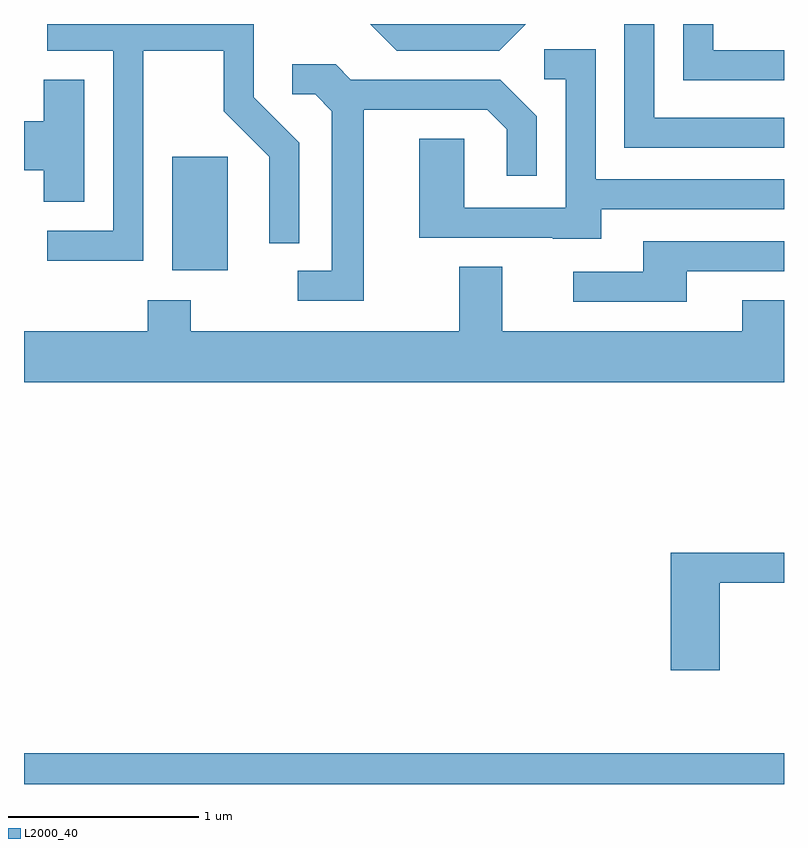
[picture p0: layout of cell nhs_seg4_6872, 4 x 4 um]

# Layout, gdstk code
import gdstk
lib = gdstk.Library(unit=1e-6, precision=1e-09)
def R(c, l, rs):  # rectangles x0, y0, x1, y1
    for r in rs: c.add(gdstk.rectangle(r[:2], r[2:], *l))
def P(c, l, *ps):  # polygons
    for p in ps: c.add(gdstk.Polygon(p, *l))
L2000_40 = (2000, 40)

nhs_seg4_6872 = lib.new_cell('nhs_seg4_6872')
R(nhs_seg4_6872, L2000_40, [(387.611,1265.982,391.611,1266.144), (388.391,1268.686,388.684,1269.284)])
P(nhs_seg4_6872, L2000_40, [(391.611,1269.844),(391.239,1269.844),(391.239,1269.982),(391.081,1269.982),(391.081,1269.686),(391.611,1269.686)],
  [(391.611,1269.489),(390.929,1269.489),(390.929,1269.982),(390.771,1269.982),(390.771,1269.331),(391.611,1269.331)],
  [(388.239,1269.841),(388.661,1269.841),(388.661,1269.524),(388.901,1269.284),(388.901,1268.828),(389.059,1268.828),(389.059,1269.357),(388.819,1269.597),(388.819,1269.982),(387.733,1269.982),(387.733,1269.841),(388.081,1269.841),(388.081,1268.894),(387.733,1268.894),(387.733,1268.736),(388.239,1268.736)],
  [(390.253,1269.982),(389.433,1269.982),(389.574,1269.841),(390.112,1269.841)],
  [(390.649,1269.006),(391.611,1269.006),(391.611,1269.164),(390.619,1269.164),(390.619,1269.849),(390.348,1269.849),(390.348,1269.691),(390.461,1269.691),(390.461,1269.014),(389.929,1269.014),(389.929,1269.379),(389.691,1269.379),(389.691,1268.856),(390.395,1268.856),(390.395,1268.851),(390.649,1268.851)],
  [(389.399,1269.531),(390.049,1269.531),(390.151,1269.429),(390.151,1269.183),(390.309,1269.183),(390.309,1269.497),(390.117,1269.689),(389.332,1269.689),(389.252,1269.769),(389.023,1269.769),(389.023,1269.611),(389.144,1269.611),(389.231,1269.524),(389.231,1268.684),(389.053,1268.684),(389.053,1268.526),(389.399,1268.526)],
  [(387.929,1269.689),(387.716,1269.689),(387.716,1269.469),(387.611,1269.469),(387.611,1269.211),(387.716,1269.211),(387.716,1269.046),(387.929,1269.046)],
  [(391.099,1268.681),(391.611,1268.681),(391.611,1268.839),(390.871,1268.839),(390.871,1268.679),(390.503,1268.679),(390.503,1268.521),(391.099,1268.521)],
  [(391.611,1268.529),(391.391,1268.529),(391.391,1268.364),(390.129,1268.364),(390.129,1268.704),(389.901,1268.704),(389.901,1268.364),(388.489,1268.364),(388.489,1268.529),(388.261,1268.529),(388.261,1268.364),(387.611,1268.364),(387.611,1268.096),(391.611,1268.096)],
  [(391.274,1267.041),(391.611,1267.041),(391.611,1267.199),(391.016,1267.199),(391.016,1266.581),(391.274,1266.581)])

lib.write_gds('nhs_seg4_6872.gds')
